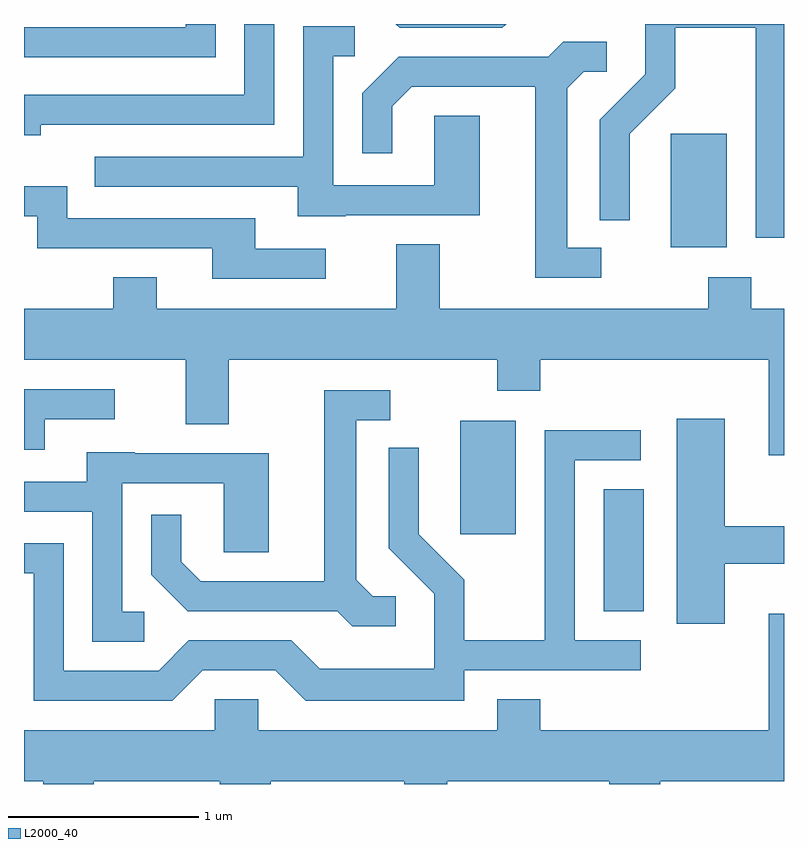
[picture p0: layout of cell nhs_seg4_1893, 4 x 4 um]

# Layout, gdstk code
import gdstk
lib = gdstk.Library(unit=1e-6, precision=1e-09)
def R(c, l, rs):  # rectangles x0, y0, x1, y1
    for r in rs: c.add(gdstk.rectangle(r[:2], r[2:], *l))
def P(c, l, *ps):  # polygons
    for p in ps: c.add(gdstk.Polygon(p, *l))
L2000_40 = (2000, 40)

nhs_seg4_1893 = lib.new_cell('nhs_seg4_1893')
R(nhs_seg4_1893, L2000_40, [(242.661,1368.891,242.874,1369.534), (241.906,1369.296,242.199,1369.894), (243.016,1370.806,243.309,1371.404)])
P(nhs_seg4_1893, L2000_40, [(242.148,1371.982),(241.568,1371.982),(241.589,1371.961),(242.127,1371.961)],
  [(240.619,1371.982),(240.461,1371.982),(240.461,1371.964),(239.611,1371.964),(239.611,1371.806),(240.619,1371.806)],
  [(239.699,1371.451),(240.929,1371.451),(240.929,1371.982),(240.771,1371.982),(240.771,1371.609),(239.611,1371.609),(239.611,1371.396),(239.699,1371.396)],
  [(243.611,1371.982),(242.881,1371.982),(242.881,1371.717),(242.641,1371.477),(242.641,1370.948),(242.799,1370.948),(242.799,1371.404),(243.039,1371.644),(243.039,1371.961),(243.461,1371.961),(243.461,1370.856),(243.611,1370.856)],
  [(241.305,1370.976),(242.009,1370.976),(242.009,1371.499),(241.771,1371.499),(241.771,1371.134),(241.239,1371.134),(241.239,1371.811),(241.353,1371.811),(241.353,1371.969),(241.081,1371.969),(241.081,1371.284),(239.983,1371.284),(239.983,1371.126),(241.051,1371.126),(241.051,1370.971),(241.305,1370.971)],
  [(242.648,1370.804),(242.469,1370.804),(242.469,1371.644),(242.557,1371.731),(242.678,1371.731),(242.678,1371.889),(242.449,1371.889),(242.369,1371.809),(241.584,1371.809),(241.391,1371.617),(241.391,1371.303),(241.549,1371.303),(241.549,1371.549),(241.652,1371.651),(242.301,1371.651),(242.301,1370.646),(242.648,1370.646)],
  [(241.198,1370.799),(240.829,1370.799),(240.829,1370.959),(239.839,1370.959),(239.839,1371.129),(239.611,1371.129),(239.611,1370.971),(239.681,1370.971),(239.681,1370.801),(240.601,1370.801),(240.601,1370.641),(241.198,1370.641)],
  [(243.611,1370.484),(243.439,1370.484),(243.439,1370.649),(243.211,1370.649),(243.211,1370.484),(241.799,1370.484),(241.799,1370.824),(241.571,1370.824),(241.571,1370.484),(240.309,1370.484),(240.309,1370.649),(240.081,1370.649),(240.081,1370.484),(239.611,1370.484),(239.611,1370.216),(240.461,1370.216),(240.461,1369.876),(240.689,1369.876),(240.689,1370.216),(242.101,1370.216),(242.101,1370.051),(242.329,1370.051),(242.329,1370.216),(243.531,1370.216),(243.531,1369.711),(243.611,1369.711)],
  [(239.719,1369.901),(240.088,1369.901),(240.088,1370.059),(239.611,1370.059),(239.611,1369.741),(239.719,1369.741)],
  [(241.568,1368.969),(241.447,1368.969),(241.359,1369.057),(241.359,1369.896),(241.538,1369.896),(241.538,1370.054),(241.191,1370.054),(241.191,1369.049),(240.542,1369.049),(240.439,1369.152),(240.439,1369.398),(240.281,1369.398),(240.281,1369.084),(240.474,1368.891),(241.259,1368.891),(241.339,1368.811),(241.568,1368.811)],
  [(243.299,1369.141),(243.611,1369.141),(243.611,1369.339),(243.299,1369.339),(243.299,1369.904),(243.046,1369.904),(243.046,1368.826),(243.299,1368.826)],
  [(240.552,1368.581),(240.934,1368.581),(241.094,1368.421),(241.929,1368.421),(241.929,1368.581),(242.858,1368.581),(242.858,1368.739),(242.509,1368.739),(242.509,1369.686),(242.858,1369.686),(242.858,1369.844),(242.351,1369.844),(242.351,1368.739),(241.929,1368.739),(241.929,1369.057),(241.689,1369.297),(241.689,1369.753),(241.531,1369.753),(241.531,1369.224),(241.771,1368.984),(241.771,1368.589),(241.167,1368.589),(241.017,1368.739),(240.479,1368.739),(240.319,1368.579),(239.819,1368.579),(239.819,1369.249),(239.611,1369.249),(239.611,1369.091),(239.661,1369.091),(239.661,1368.421),(240.392,1368.421)],
  [(240.243,1368.889),(240.129,1368.889),(240.129,1369.566),(240.661,1369.566),(240.661,1369.201),(240.899,1369.201),(240.899,1369.724),(240.195,1369.724),(240.195,1369.729),(239.941,1369.729),(239.941,1369.574),(239.611,1369.574),(239.611,1369.416),(239.971,1369.416),(239.971,1368.731),(240.243,1368.731)],
  [(239.979,1367.996),(240.641,1367.996),(240.641,1367.982),(240.909,1367.982),(240.909,1367.996),(241.611,1367.996),(241.611,1367.982),(241.839,1367.982),(241.839,1367.996),(242.691,1367.996),(242.691,1367.982),(242.959,1367.982),(242.959,1367.996),(243.611,1367.996),(243.611,1368.879),(243.531,1368.879),(243.531,1368.264),(242.329,1368.264),(242.329,1368.429),(242.101,1368.429),(242.101,1368.264),(240.844,1368.264),(240.844,1368.429),(240.616,1368.429),(240.616,1368.264),(239.611,1368.264),(239.611,1367.996),(239.711,1367.996),(239.711,1367.982),(239.979,1367.982)])

lib.write_gds('nhs_seg4_1893.gds')
